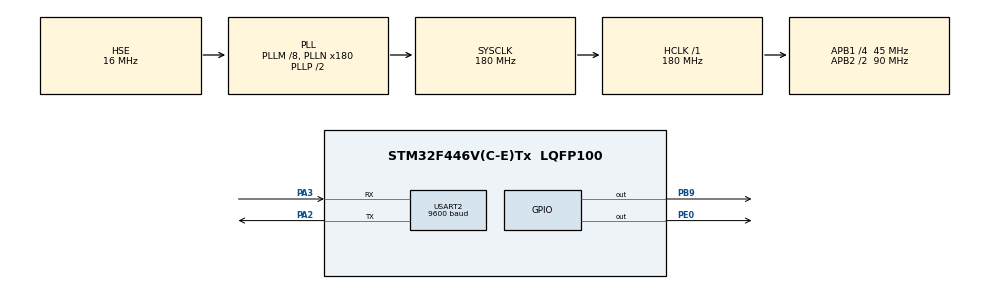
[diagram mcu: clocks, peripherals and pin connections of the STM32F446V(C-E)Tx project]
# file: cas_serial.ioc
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Mcu.Family=STM32F4
RCC.PLLSourceVirtual=RCC_PLLSOURCE_HSE
PH0-OSC_IN.Signal=RCC_OSC_IN
RCC.CortexFreq_Value=180000000
Dma.USART2_RX.0.Direction=DMA_PERIPH_TO_MEMORY
RCC.APB1CLKDivider=RCC_HCLK_DIV4
USART2.BaudRate=9600
RCC.SYSCLKSource=RCC_SYSCLKSOURCE_PLLCLK
ProjectManager.StackSize=0x400
Dma.USART2_RX.0.Mode=DMA_CIRCULAR
PA3.Mode=Asynchronous
ProjectManager.TargetToolchain=EWARM V8.32
NVIC.DMA1_Stream5_IRQn=true\:0\:0\:false\:false\:true\:false\:true
Dma.USART2_RX.0.Priority=DMA_PRIORITY_LOW
Dma.USART2_RX.0.PeriphDataAlignment=DMA_PDATAALIGN_BYTE
RCC.HCLKFreq_Value=180000000
RCC.APB2TimFreq_Value=180000000
RCC.USBFreq_Value=180000000
RCC.AHBFreq_Value=180000000
PH0-OSC_IN.Mode=HSE-External-Clock-Source
RCC.HSE_VALUE=16000000
board=custom
RCC.VCOOutputFreq_Value=360000000
RCC.APB2Freq_Value=90000000
Dma.USART2_RX.0.MemDataAlignment=DMA_MDATAALIGN_BYTE
Dma.USART2_RX.0.Instance=DMA1_Stream5
PH1-OSC_OUT.Signal=RCC_OSC_OUT
Dma.USART2_RX.0.MemInc=DMA_MINC_ENABLE
PE0.Signal=GPIO_Output
Mcu.Name=STM32F446V(C-E)Tx
PA2.Signal=USART2_TX
PH1-OSC_OUT.Mode=HSE-External-Clock-Source
RCC.SYSCLKFreq_VALUE=180000000
Mcu.Package=LQFP100
PB9.Signal=GPIO_Output
Dma.USART2_RX.0.PeriphInc=DMA_PINC_DISABLE
USART2.VirtualMode=VM_ASYNC
Dma.USART2_RX.0.FIFOMode=DMA_FIFOMODE_DISABLE
ProjectManager.HeapSize=0x200
NVIC.PriorityGroup=NVIC_PRIORITYGROUP_4
RCC.APB2CLKDivider=RCC_HCLK_DIV2
RCC.PLLM=8
RCC.PLLN=180
RCC.APB1TimFreq_Value=90000000
PA2.Mode=Asynchronous
Dma.Request0=USART2_RX
RCC.APB1Freq_Value=45000000
PA3.Signal=USART2_RX

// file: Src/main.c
/* USER CODE BEGIN Header */
/**
  ******************************************************************************
  * @file           : main.c
  * @brief          : Main program body
  ******************************************************************************
  * @attention
  *
  * <h2><center>&copy; Copyright (c) 2020 STMicroelectronics.
  * All rights reserved.</center></h2>
  *
  * This software component is licensed by ST under BSD 3-Clause license,
  * the "License"; You may not use this file except in compliance with the
  * License. You may obtain a copy of the License at:
  *                        opensource.org/licenses/BSD-3-Clause
  *
  ******************************************************************************
  */
/* USER CODE END Header */

#include "main.h"

/* USER CODE BEGIN Includes */
#include <string.h>
#include <stdbool.h>
/* USER CODE END Includes */

UART_HandleTypeDef huart2;
DMA_HandleTypeDef hdma_usart2_rx;

void SystemClock_Config(void);
static void MX_GPIO_Init(void);
static void MX_DMA_Init(void);
static void MX_USART2_UART_Init(void);

/* USER CODE BEGIN 0 */

typedef enum _CAS_HEADER1{
 CAS_OVERLOAD,
 CAS_UNDERLOAD,
 CAS_STABLE,
 CAS_UNSTABLE
}CAS_HEADER1;

typedef enum _CAS_HEADER2{
 CAS_NET_WEIGHT,
 CAS_GROSS_WEIGHT
}CAS_HEADER2;

typedef enum _CAS_UNIT{
  CAS_UNIT_Kg,
  CAS_UINT_t,
  CAS_UINT_g
}CAS_UNIT;

typedef struct _CAS_DATA{
  CAS_HEADER1 header1;
  CAS_HEADER2 header2;
  float data;
  CAS_UNIT unit;
}CAS_DATA;

// My Global Variables
#define CAS_RX_BUFFSIZE         100
uint8_t m_casRxBuffer[CAS_RX_BUFFSIZE];

CAS_DATA m_casData;

#define ci(i) (((i) + CAS_RX_BUFFSIZE) % CAS_RX_BUFFSIZE)
bool parse_casData(){

  static uint8_t temp[7];
  static CAS_DATA casData;

  uint8_t i, j;
  bool state = false;

  int32_t weight_hi, weight_lo;
  bool is_neg, is_decimal;

  char* x = (char*)&temp;

  // 1. Find frame between CR(0x0D) LF(0x0A)
  for(i = 0; i < CAS_RX_BUFFSIZE; i++){
    if(m_casRxBuffer[i] == 0x0D){
      if(i == CAS_RX_BUFFSIZE - 1){
        if(m_casRxBuffer[0] == 0x0A){
          state = true;
          break;
        }
      }else{
        if(m_casRxBuffer[i + 1] == 0x0A){
          state = true;
          break;
        }
      }
    }
  }

  if(!state) return false;

  // 2. Check data frame briefly
  i = ci(i - 16);
  if(m_casRxBuffer[ci(i + 2)] != ',') return false;
  if(m_casRxBuffer[ci(i + 5)] != ',') return false;

  // 3. Check Data Header1
  temp[0] = m_casRxBuffer[i];
  temp[1] = m_casRxBuffer[ci(i + 1)];

  if(!strncmp(x, "OL", 2)) casData.header1 = CAS_OVERLOAD;
  else if(!strncmp(x, "UL", 2)) casData.header1 = CAS_UNDERLOAD;
  else if(!strncmp(x, "ST", 2)) casData.header1 = CAS_STABLE;
  else if(!strncmp(x, "US", 2)) casData.header1 = CAS_UNSTABLE;
  else return false;

  // 4. Check Data Header2
  temp[0] = m_casRxBuffer[ci(i + 3)];
  temp[1] = m_casRxBuffer[ci(i + 4)];

  if(!strncmp(x, "NT", 2)) casData.header2 = CAS_NET_WEIGHT;
  else if(!strncmp(x, "GS", 2)) casData.header2 = CAS_GROSS_WEIGHT;
  else return false;

  // 5. Check Weight Data
  for(j = 0; j < 8; j++) temp[j] = m_casRxBuffer[ci(i + 6 + j)];

  is_neg = false;
  is_decimal = false;
  switch(temp[0]){
  case '+' : break;
  case '-' : is_neg = true; break;
  case ' ' : break;
  case '.' : is_decimal = true; break;
  default : return false;
  }

  weight_hi = 0;
  weight_lo = 0;
  for(j = 1; j < 8; j++){
    if(temp[j] >= '0' && temp[j] <= '9'){
      if(is_decimal) weight_lo = weight_lo * 10 + (temp[j] - '0');
      else weight_hi = weight_hi * 10 + (temp[j] - '0');
    }else if(temp[j] == '.'){
      is_decimal = true;
    }else{
      return false;
    }
  }

  casData.data = (float)weight_lo;
  while(casData.data > 1.0f) casData.data /= 10.0f;
  casData.data += (float)weight_hi;
  if(is_neg) casData.data *= -1.0f;

  // 6. Check units
  temp[0] = m_casRxBuffer[ci(i + 14)];
  temp[1] = m_casRxBuffer[ci(i + 15)];
  if(!strncmp(x, "kg", 2)) casData.unit = CAS_UNIT_Kg;
  else if(!strncmp(x, "-t", 2)) casData.unit = CAS_UINT_t;
  else if(!strncmp(x, "-g", 2)) casData.unit = CAS_UINT_g;
  else return false;

  // 7. Copy data & erase frame from buffer
  for(j = 0; j < 18; j++) m_casRxBuffer[ci(i + j)] = 0x00;
  memcpy(&m_casData, &casData, sizeof(CAS_DATA));

  return true;

}
/* USER CODE END 0 */

int main(void)
{

  /* MCU Configuration--------------------------------------------------------*/

  /* Reset of all peripherals, Initializes the Flash interface and the Systick. */
  HAL_Init();

  /* Configure the system clock */
  SystemClock_Config();

  /* Initialize all configured peripherals */
  MX_GPIO_Init();
  MX_DMA_Init();
  MX_USART2_UART_Init();
  /* USER CODE BEGIN 2 */

  HAL_UART_Receive_DMA(&huart2, m_casRxBuffer, CAS_RX_BUFFSIZE);

  /* USER CODE END 2 */

  /* Infinite loop */
  /* USER CODE BEGIN WHILE */
  while (1)
  {
    if(parse_casData()){
      if(m_casData.header1 == CAS_STABLE) HAL_GPIO_WritePin(GPIOE, GPIO_PIN_0, GPIO_PIN_SET);
      else HAL_GPIO_WritePin(GPIOE, GPIO_PIN_0, GPIO_PIN_RESET);
    }
    /* USER CODE END WHILE */

  }
}

void SystemClock_Config(void)
{
  RCC_OscInitTypeDef RCC_OscInitStruct = {0};
  RCC_ClkInitTypeDef RCC_ClkInitStruct = {0};

  /** Configure the main internal regulator output voltage
  */
  __HAL_RCC_PWR_CLK_ENABLE();
  __HAL_PWR_VOLTAGESCALING_CONFIG(PWR_REGULATOR_VOLTAGE_SCALE1);
  /** Initializes the CPU, AHB and APB busses clocks
  */
  RCC_OscInitStruct.OscillatorType = RCC_OSCILLATORTYPE_HSE;
  RCC_OscInitStruct.HSEState = RCC_HSE_BYPASS;
  RCC_OscInitStruct.PLL.PLLState = RCC_PLL_ON;
  RCC_OscInitStruct.PLL.PLLSource = RCC_PLLSOURCE_HSE;
  RCC_OscInitStruct.PLL.PLLM = 8;
  RCC_OscInitStruct.PLL.PLLN = 180;
  RCC_OscInitStruct.PLL.PLLP = RCC_PLLP_DIV2;
  RCC_OscInitStruct.PLL.PLLQ = 2;
  RCC_OscInitStruct.PLL.PLLR = 2;
  if (HAL_RCC_OscConfig(&RCC_OscInitStruct) != HAL_OK)
  {
    Error_Handler();
  }
  /** Activate the Over-Drive mode
  */
  if (HAL_PWREx_EnableOverDrive() != HAL_OK)
  {
    Error_Handler();
  }
  /** Initializes the CPU, AHB and APB busses clocks
  */
  RCC_ClkInitStruct.ClockType = RCC_CLOCKTYPE_HCLK|RCC_CLOCKTYPE_SYSCLK
                              |RCC_CLOCKTYPE_PCLK1|RCC_CLOCKTYPE_PCLK2;
  RCC_ClkInitStruct.SYSCLKSource = RCC_SYSCLKSOURCE_PLLCLK;
  RCC_ClkInitStruct.AHBCLKDivider = RCC_SYSCLK_DIV1;
  RCC_ClkInitStruct.APB1CLKDivider = RCC_HCLK_DIV4;
  RCC_ClkInitStruct.APB2CLKDivider = RCC_HCLK_DIV2;

  if (HAL_RCC_ClockConfig(&RCC_ClkInitStruct, FLASH_LATENCY_5) != HAL_OK)
  {
    Error_Handler();
  }
}

static void MX_USART2_UART_Init(void)
{

  huart2.Instance = USART2;
  huart2.Init.BaudRate = 9600;
  huart2.Init.WordLength = UART_WORDLENGTH_8B;
  huart2.Init.StopBits = UART_STOPBITS_1;
  huart2.Init.Parity = UART_PARITY_NONE;
  huart2.Init.Mode = UART_MODE_TX_RX;
  huart2.Init.HwFlowCtl = UART_HWCONTROL_NONE;
  huart2.Init.OverSampling = UART_OVERSAMPLING_16;
  if (HAL_UART_Init(&huart2) != HAL_OK)
  {
    Error_Handler();
  }

}

static void MX_DMA_Init(void)
{

  /* DMA controller clock enable */
  __HAL_RCC_DMA1_CLK_ENABLE();

  /* DMA interrupt init */
  /* DMA1_Stream5_IRQn interrupt configuration */
  HAL_NVIC_SetPriority(DMA1_Stream5_IRQn, 0, 0);
  HAL_NVIC_EnableIRQ(DMA1_Stream5_IRQn);

}

static void MX_GPIO_Init(void)
{
  GPIO_InitTypeDef GPIO_InitStruct = {0};

  /* GPIO Ports Clock Enable */
  __HAL_RCC_GPIOH_CLK_ENABLE();
  __HAL_RCC_GPIOA_CLK_ENABLE();
  __HAL_RCC_GPIOB_CLK_ENABLE();
  __HAL_RCC_GPIOE_CLK_ENABLE();

  /*Configure GPIO pin Output Level */
  HAL_GPIO_WritePin(GPIOB, GPIO_PIN_9, GPIO_PIN_RESET);

  /*Configure GPIO pin Output Level */
  HAL_GPIO_WritePin(GPIOE, GPIO_PIN_0, GPIO_PIN_RESET);

  /*Configure GPIO pin : PB9 */
  GPIO_InitStruct.Pin = GPIO_PIN_9;
  GPIO_InitStruct.Mode = GPIO_MODE_OUTPUT_PP;
  GPIO_InitStruct.Pull = GPIO_NOPULL;
  GPIO_InitStruct.Speed = GPIO_SPEED_FREQ_LOW;
  HAL_GPIO_Init(GPIOB, &GPIO_InitStruct);

  /*Configure GPIO pin : PE0 */
  GPIO_InitStruct.Pin = GPIO_PIN_0;
  GPIO_InitStruct.Mode = GPIO_MODE_OUTPUT_PP;
  GPIO_InitStruct.Pull = GPIO_NOPULL;
  GPIO_InitStruct.Speed = GPIO_SPEED_FREQ_LOW;
  HAL_GPIO_Init(GPIOE, &GPIO_InitStruct);

}

void Error_Handler(void)
{
}

/************************ (C) COPYRIGHT STMicroelectronics *****END OF FILE****/
